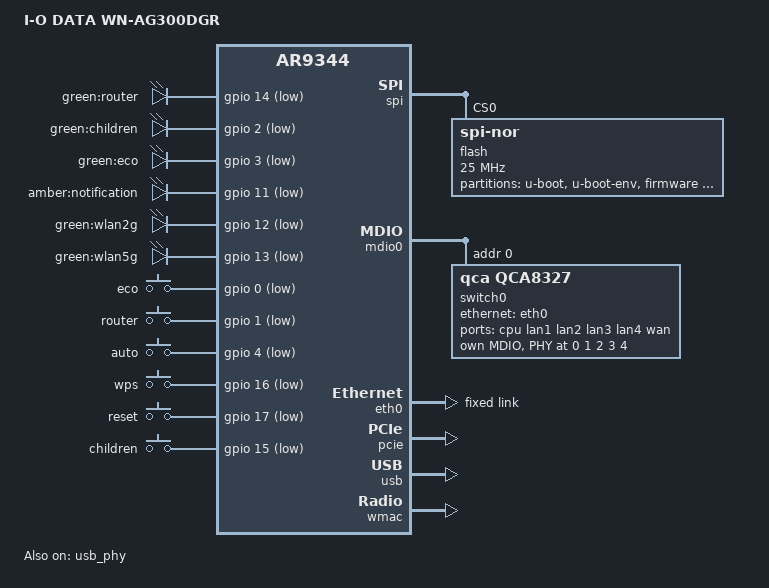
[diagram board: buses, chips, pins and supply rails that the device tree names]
// SPDX-License-Identifier: GPL-2.0-or-later OR MIT

#include "ar9344.dtsi"

#include <dt-bindings/gpio/gpio.h>
#include <dt-bindings/input/input.h>

/ {
	compatible = "iodata,wn-ag300dgr", "qca,ar9344";
	model = "I-O DATA WN-AG300DGR";

	aliases {
		led-boot = &led_router;
		led-failsafe = &led_router;
		led-running = &led_router;
		led-upgrade = &led_router;
	};

	leds {
		compatible = "gpio-leds";

		led_router: router {
			label = "green:router";
			gpios = <&gpio 14 GPIO_ACTIVE_LOW>;
			default-state = "on";
		};

		children {
			label = "green:children";
			gpios = <&gpio 2 GPIO_ACTIVE_LOW>;
		};

		eco {
			label = "green:eco";
			gpios = <&gpio 3 GPIO_ACTIVE_LOW>;
		};

		notification {
			label = "amber:notification";
			gpios = <&gpio 11 GPIO_ACTIVE_LOW>;
		};

		wlan2g {
			label = "green:wlan2g";
			gpios = <&gpio 12 GPIO_ACTIVE_LOW>;
			linux,default-trigger = "phy0tpt";
		};

		wlan5g {
			label = "green:wlan5g";
			gpios = <&gpio 13 GPIO_ACTIVE_LOW>;
			linux,default-trigger = "phy1tpt";
		};
	};

	keys {
		compatible = "gpio-keys";

		eco {
			label = "eco";
			gpios = <&gpio 0 GPIO_ACTIVE_LOW>;
			linux,code = <BTN_1>;
			debounce-interval = <60>;
		};

		router {
			label = "router";
			gpios = <&gpio 1 GPIO_ACTIVE_LOW>;
			linux,code = <BTN_0>;
			linux,input-type = <EV_SW>;
			debounce-interval = <60>;
		};

		auto {
			label = "auto";
			gpios = <&gpio 4 GPIO_ACTIVE_LOW>;
			linux,code = <BTN_0>;
			linux,input-type = <EV_SW>;
			debounce-interval = <60>;
		};

		wps {
			label = "wps";
			gpios = <&gpio 16 GPIO_ACTIVE_LOW>;
			linux,code = <KEY_WPS_BUTTON>;
			debounce-interval = <60>;
		};

		reset {
			label = "reset";
			gpios = <&gpio 17 GPIO_ACTIVE_LOW>;
			linux,code = <KEY_RESTART>;
			debounce-interval = <60>;
		};

		children {
			label = "children";
			gpios = <&gpio 15 GPIO_ACTIVE_LOW>;
			linux,code = <BTN_1>;
			debounce-interval = <60>;
		};
	};
};

&ref {
	clock-frequency = <25000000>;
};

&spi {
	status = "okay";

	flash@0 {
		compatible = "jedec,spi-nor";
		reg = <0>;
		spi-max-frequency = <25000000>;

		partitions {
			compatible = "fixed-partitions";
			#address-cells = <1>;
			#size-cells = <1>;

			partition@0 {
				label = "u-boot";
				reg = <0x000000 0x030000>;
				read-only;
			};

			partition@30000 {
				label = "u-boot-env";
				reg = <0x030000 0x010000>;
				read-only;
			};

			partition@40000 {
				compatible = "denx,uimage";
				label = "firmware";
				reg = <0x040000 0xf10000>;
			};

			partition@f50000 {
				label = "manufacture";
				reg = <0xf50000 0x40000>;
				read-only;
			};

			partition@f90000 {
				label = "backup";
				reg = <0xf90000 0x10000>;
				read-only;
			};

			partition@fa0000 {
				label = "storage";
				reg = <0xfa0000 0x50000>;
				read-only;
			};

			partition@ff0000 {
				label = "art";
				reg = <0xff0000 0x010000>;
				read-only;
			};
		};
	};
};

&mdio0 {
	status = "okay";

	switch0@10 {
		compatible = "qca,qca8327";
		#address-cells = <1>;
		#size-cells = <0>;

		reg = <0>;

		ports {
			#address-cells = <1>;
			#size-cells = <0>;

			port@0 {
				reg = <0>;
				label = "cpu";
				ethernet = <&eth0>;
				phy-mode = "rgmii-id";
				tx-internal-delay-ps = <2000>;

				fixed-link {
					speed = <1000>;
					full-duplex;
				};
			};

			port@1 {
				reg = <1>;
				label = "lan1";
				phy-mode = "internal";
				phy-handle = <&phy_port1>;
			};

			port@2 {
				reg = <2>;
				label = "lan2";
				phy-mode = "internal";
				phy-handle = <&phy_port2>;
			};

			port@3 {
				reg = <3>;
				label = "lan3";
				phy-mode = "internal";
				phy-handle = <&phy_port3>;
			};

			port@4 {
				reg = <4>;
				label = "lan4";
				phy-mode = "internal";
				phy-handle = <&phy_port4>;
			};

			port@5 {
				reg = <5>;
				label = "wan";
				phy-mode = "internal";
				phy-handle = <&phy_port5>;
			};
		};

		mdio {
			#address-cells = <1>;
			#size-cells = <0>;

			phy_port1: phy@0 {
				reg = <0>;
			};

			phy_port2: phy@1 {
				reg = <1>;
			};

			phy_port3: phy@2 {
				reg = <2>;
			};

			phy_port4: phy@3 {
				reg = <3>;
			};

			phy_port5: phy@4 {
				reg = <4>;
			};
		};
	};
};

&eth0 {
	status = "okay";

	pll-data = <0x06000000 0x00000101 0x00001616>;

	fixed-link {
		speed = <1000>;
		full-duplex;
	};
};

&pcie {
	status = "okay";
};

&usb {
	status = "okay";
};

&usb_phy {
	status = "okay";
};

&wmac {
	status = "okay";

	qca,no-eeprom;
};
